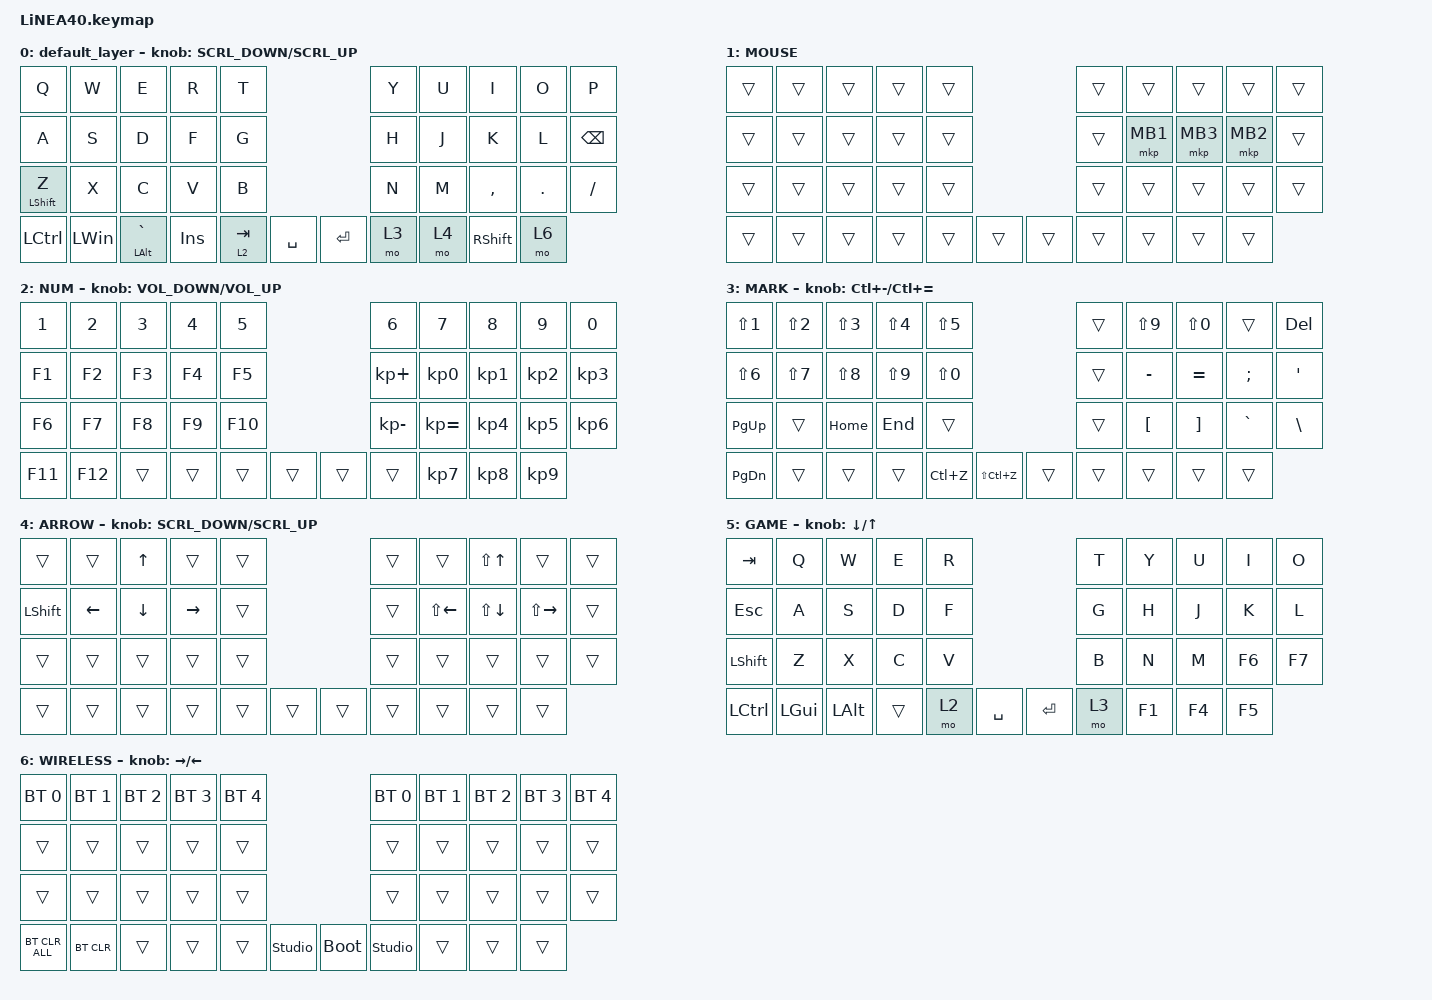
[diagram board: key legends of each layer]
#define ZMK_POINTING_DEFAULT_SCRL_VAL 150

#include <dt-bindings/zmk/input_transform.h>
#include <input/processors.dtsi>
#include <input/processors/runtime-input-processor.dtsi>
#include <zephyr/dt-bindings/input/input-event-codes.h>
#include <behaviors.dtsi>
#include <dt-bindings/zmk/bt.h>
#include <dt-bindings/zmk/keys.h>
#include <dt-bindings/zmk/pointing.h>

#define MOUSE 1
#define MARK 2
#define CURSOR 3
#define FUNCTION 4
#define SCROLL 5
#define WIRELESS 6

//mouse cursol

&mmv {
    delay-ms = <20>;
    trigger-period-ms = <5>;
    time-to-max-speed-ms = <100>;
    acceleration-exponent = <2>;
};

//mouse scroll

&msc {
    delay-ms = <3>;
    trigger-period-ms = <3>;
    time-to-max-speed-ms = <100>;
    acceleration-exponent = <0>;
};

/ {
    input_processors {
        zip_wheel_scaler: zip_wheel_scaler {
            compatible = "zmk,input-processor-scaler";
            #input-processor-cells = <2>;
            type = <INPUT_EV_REL>;
            codes = <INPUT_REL_WHEEL>;
            track-remainders;
        };
    };
};

&msc_input_listener {
    speed_up {
        layers = <FUNCTION>;
        input-processors = <&zip_wheel_scaler 3 1>; //スクロールを3倍速にする
    };
};

&trackball_listener {
    input-processors = <&mouse_runtime_input_processor>;
    scroller {
        layers = <SCROLL>;
        input-processors =
            <&scroll_runtime_input_processor>,
            <&zip_xy_transform INPUT_TRANSFORM_Y_INVERT>,
            //スクロール方向を逆転,,,,,,,,,,,
            <&zip_xy_to_scroll_mapper>;
    };
};

/ {
    combos {
        compatible = "zmk,combos";

        PrevClick {
            bindings = <&mkp MB4>;
            key-positions = <16 17>;
        };

        ClickNext {
            bindings = <&mkp MB5>;
            key-positions = <6 7>;
        };

        EN {
            bindings = <&kp LANG2>;
            key-positions = <5 6>;
        };

        JA {
            bindings = <&kp LANGUAGE_1>;
            key-positions = <15 16>;
        };

        GAME {
            bindings = <&to 5>;
            key-positions = <16 17 18 19>;
        };

        EXIT {
            bindings = <&kp ESC>;
            key-positions = <0 10>;
        };

        DEFAULT {
            bindings = <&to 0>;
            key-positions = <36 37>;
        };
    };

    behaviors {
        re_kp: sensor_rotate_kp {
            compatible = "zmk,behavior-sensor-rotate-var";
            #sensor-binding-cells = <2>;
            bindings = <&kp>, <&kp>;
        };

        mouse_scrl: mouse_wheel_scrl {
            compatible = "zmk,behavior-sensor-rotate-var";
            #sensor-binding-cells = <2>;
            bindings = <&msc>, <&msc>;

            tap-ms = <20>;
        };
    };

    keymap {
        compatible = "zmk,keymap";

        default_layer {
            bindings = <
&kp Q             &kp W         &kp E               &kp R    &kp T                              &kp Y  &kp U  &kp I      &kp O            &kp P
&kp A             &kp S         &kp D               &kp F    &kp G                              &kp H  &kp J  &kp K      &kp L            &kp BACKSPACE
&mt LEFT_SHIFT Z  &kp X         &kp C               &kp V    &kp B                              &kp N  &kp M  &kp COMMA  &kp DOT          &kp SLASH
&kp LCTRL         &kp LEFT_WIN  &mt LEFT_ALT GRAVE  &kp INS  &lt 2 TAB  &kp SPACE    &kp ENTER  &mo 3         &mo 4      &kp RIGHT_SHIFT  &mo 6
            >;

            sensor-bindings = <&mouse_scrl SCRL_DOWN SCRL_UP>;
        };

        //1

        MOUSE {
            bindings = <
&trans  &trans  &trans  &trans  &trans                    &trans  &trans    &trans    &trans    &trans
&trans  &trans  &trans  &trans  &trans                    &trans  &mkp MB1  &mkp MB3  &mkp MB2  &trans
&trans  &trans  &trans  &trans  &trans                    &trans  &trans    &trans    &trans    &trans
&trans  &trans  &trans  &trans  &trans  &trans    &trans  &trans            &trans    &trans    &trans
            >;
        };

        //2

        NUM {
            bindings = <
&kp NUMBER_1  &kp NUMBER_2  &kp NUMBER_3  &kp NUMBER_4  &kp N5                     &kp NUMBER_6  &kp N7        &kp N8           &kp N9     &kp N0
&kp F1        &kp F2        &kp F3        &kp F4        &kp F5                     &kp KP_PLUS   &kp KP_N0     &kp KP_NUMBER_1  &kp KP_N2  &kp KP_N3
&kp F6        &kp F7        &kp F8        &kp F9        &kp F10                    &kp KP_MINUS  &kp KP_EQUAL  &kp KP_N4        &kp KP_N5  &kp KP_NUMBER_6
&kp F11       &kp F12       &trans        &trans        &trans   &trans    &trans  &trans                      &kp KP_N7        &kp KP_N8  &kp KP_N9
            >;

            sensor-bindings = <&re_kp C_VOLUME_DOWN C_VOLUME_UP>;
        };

        //3

        MARK {
            bindings = <
&kp LS(NUMBER_1)  &kp LS(NUMBER_2)  &kp LS(NUMBER_3)  &kp LS(NUMBER_4)  &kp LS(N5)                           &trans  &kp LS(N9)        &kp LS(N0)         &trans         &kp DEL
&kp LS(NUMBER_6)  &kp LS(N7)        &kp LS(N8)        &kp LS(N9)        &kp LS(N0)                           &trans  &kp MINUS         &kp EQUAL          &kp SEMICOLON  &kp SQT
&kp PG_UP         &trans            &kp HOME          &kp END           &trans                               &trans  &kp LEFT_BRACKET  &kp RIGHT_BRACKET  &kp GRAVE      &kp BSLH
&kp PG_DN         &trans            &trans            &trans            &kp LC(Z)   &kp LS(LC(Z))    &trans  &trans                    &trans             &trans         &trans
            >;

            sensor-bindings = <&inc_dec_kp LC(MINUS) LC(EQUAL)>;
        };

        //4

        ARROW {
            bindings = <
&trans          &trans          &kp UP_ARROW    &trans           &trans                    &trans  &trans              &kp LS(UP_ARROW)    &trans               &trans
&kp LEFT_SHIFT  &kp LEFT_ARROW  &kp DOWN_ARROW  &kp RIGHT_ARROW  &trans                    &trans  &kp LS(LEFT_ARROW)  &kp LS(DOWN_ARROW)  &kp LS(RIGHT_ARROW)  &trans
&trans          &trans          &trans          &trans           &trans                    &trans  &trans              &trans              &trans               &trans
&trans          &trans          &trans          &trans           &trans  &trans    &trans  &trans                      &trans              &trans               &trans
            >;

            sensor-bindings = <&mouse_scrl SCRL_DOWN SCRL_UP>;
        };

        //5

        GAME {
            bindings = <
&kp TAB           &kp Q         &kp W         &kp E   &kp R                          &kp T  &kp Y  &kp U   &kp I   &kp O
&kp ESC           &kp A         &kp S         &kp D   &kp F                          &kp G  &kp H  &kp J   &kp K   &kp L
&kp LEFT_SHIFT    &kp Z         &kp X         &kp C   &kp V                          &kp B  &kp N  &kp M   &kp F6  &kp F7
&kp LEFT_CONTROL  &kp LEFT_GUI  &kp LEFT_ALT  &trans  &mo 2  &kp SPACE    &kp ENTER  &mo 3         &kp F1  &kp F4  &kp F5
            >;

            sensor-bindings = <&inc_dec_kp DOWN_ARROW UP_ARROW>;
        };

        //6

        WIRELESS {
            bindings = <
&bt BT_SEL 0    &bt BT_SEL 1  &bt BT_SEL 2  &bt BT_SEL 3  &bt BT_SEL 4                         &bt BT_SEL 0    &bt BT_SEL 1  &bt BT_SEL 2  &bt BT_SEL 3  &bt BT_SEL 4
&trans          &trans        &trans        &trans        &trans                               &trans          &trans        &trans        &trans        &trans
&trans          &trans        &trans        &trans        &trans                               &trans          &trans        &trans        &trans        &trans
&bt BT_CLR_ALL  &bt BT_CLR    &trans        &trans        &trans        &studio_unlock    &bootloader  &studio_unlock                &trans        &trans        &trans
            >;

            sensor-bindings = <&inc_dec_kp RIGHT_ARROW LEFT_ARROW>;
        };
    };
};
